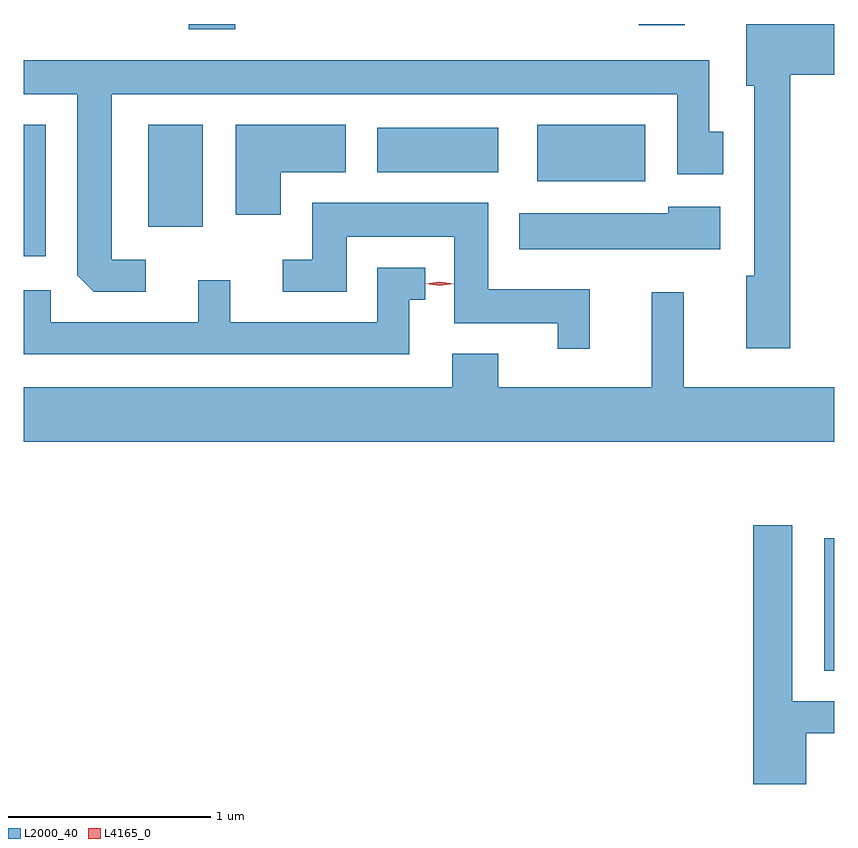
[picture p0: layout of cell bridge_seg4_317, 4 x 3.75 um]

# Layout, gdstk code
import gdstk
lib = gdstk.Library(unit=1e-6, precision=1e-09)
def R(c, l, rs):  # rectangles x0, y0, x1, y1
    for r in rs: c.add(gdstk.rectangle(r[:2], r[2:], *l))
def P(c, l, *ps):  # polygons
    for p in ps: c.add(gdstk.Polygon(p, *l))
L2000_40 = (2000, 40)
L4165_0 = (4165, 0)

bridge_seg4_317 = lib.new_cell('bridge_seg4_317')
R(bridge_seg4_317, L2000_40, [(539.786,1291.386,539.836,1292.039), (535.836,1293.431,535.944,1294.079), (536.451,1293.576,536.719,1294.079), (538.371,1293.801,538.904,1294.079), (537.581,1293.846,538.179,1294.064), (536.651,1294.551,536.879,1294.577), (538.871,1294.571,539.099,1294.577)])
P(bridge_seg4_317, L2000_40, [(539.619,1294.326),(539.836,1294.326),(539.836,1294.577),(539.401,1294.577),(539.401,1294.271),(539.441,1294.271),(539.441,1293.334),(539.401,1293.334),(539.401,1292.976),(539.619,1292.976)],
  [(536.438,1293.414),(536.269,1293.414),(536.269,1294.231),(539.061,1294.231),(539.061,1293.836),(539.289,1293.836),(539.289,1294.044),(539.219,1294.044),(539.219,1294.399),(535.836,1294.399),(535.836,1294.231),(536.101,1294.231),(536.101,1293.337),(536.182,1293.256),(536.438,1293.256)],
  [(537.104,1293.846),(537.424,1293.846),(537.424,1294.079),(536.881,1294.079),(536.881,1293.636),(537.104,1293.636)],
  [(538.629,1293.269),(538.129,1293.269),(538.129,1293.694),(537.261,1293.694),(537.261,1293.414),(537.113,1293.414),(537.113,1293.256),(537.429,1293.256),(537.429,1293.526),(537.961,1293.526),(537.961,1293.101),(538.471,1293.101),(538.471,1292.973),(538.629,1292.973)],
  [(539.274,1293.674),(539.016,1293.674),(539.016,1293.644),(538.281,1293.644),(538.281,1293.466),(539.274,1293.466)],
  [(537.739,1293.216),(537.818,1293.216),(537.818,1293.374),(537.581,1293.374),(537.581,1293.104),(536.854,1293.104),(536.854,1293.313),(536.696,1293.313),(536.696,1293.104),(535.969,1293.104),(535.969,1293.264),(535.836,1293.264),(535.836,1292.946),(537.739,1292.946)],
  [(539.836,1292.784),(539.094,1292.784),(539.094,1293.253),(538.936,1293.253),(538.936,1292.784),(538.179,1292.784),(538.179,1292.949),(537.951,1292.949),(537.951,1292.784),(535.836,1292.784),(535.836,1292.516),(539.836,1292.516)],
  [(539.699,1291.076),(539.836,1291.076),(539.836,1291.234),(539.629,1291.234),(539.629,1292.104),(539.436,1292.104),(539.436,1290.826),(539.699,1290.826)])
P(bridge_seg4_317, L4165_0, [(537.888,1293.285),(537.819,1293.294),(537.819,1293.295),(537.819,1293.295),(537.888,1293.305),(537.958,1293.296),(537.958,1293.296),(537.958,1293.295)])

lib.write_gds('bridge_seg4_317.gds')
